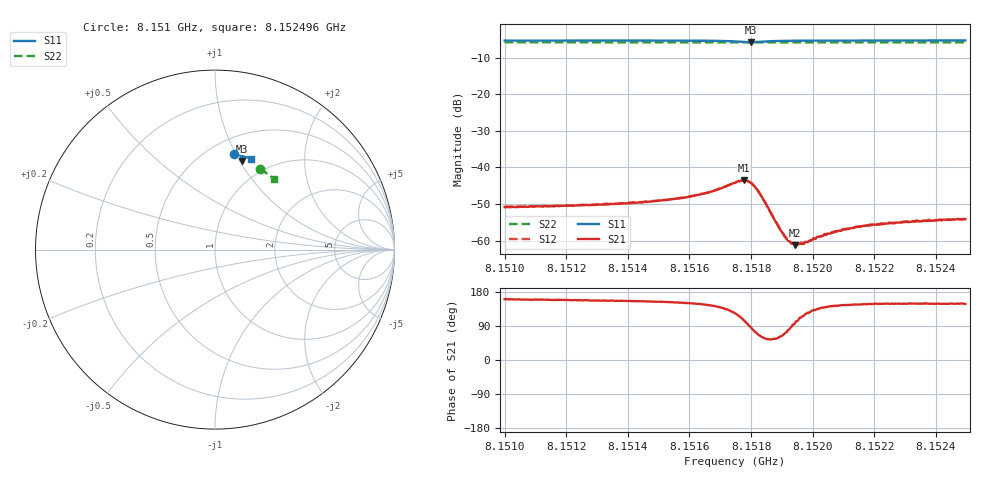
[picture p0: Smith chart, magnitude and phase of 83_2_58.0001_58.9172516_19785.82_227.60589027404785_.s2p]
#  HZ  S  RI  R  50.00
! Rohde & Schwarz Vector Network Analyzer
! Rohde-Schwarz,ZNB20-2Port,1311601062101988,3.16
! Created: UTC 3/21/2024, 12:53:59 AM
! freq[Hz]  re:S11  im:S11  re:S21  im:S21  re:S12  im:S12  re:S22  im:S22
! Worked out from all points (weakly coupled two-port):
!   401 points, 8.151 GHz to 8.152496 GHz, reference 50 ohm
!   highest |S21| = -43.55 dB at 8.151778 GHz (marker M1); lowest = -61.3 dB at 8.151942 GHz (marker M2)
!   lowest |S11| = -5.7 dB at 8.1518 GHz (marker M3), VSWR 3.13, Z = 37.8 + j50.9 ohm
!   |S11| at or under -10 dB: nowhere
!   |S22| runs from -5.8 to -5.8 dB; largest |S21 - S12| = 0.00013
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8.1509998e9  0.1038 0.5329  -0.0027 0.00095  -0.00268 0.00102  0.2515 0.4485
8.1512504e9  0.122 0.5293  -0.00284 0.00117  -0.00282 0.00121  0.2654 0.4401
8.1515009e9  0.141 0.5245  -0.00317 0.00156  -0.00315 0.0016  0.2791 0.4312
8.1515944e9  0.1492 0.5213  -0.00341 0.00196  -0.00342 0.00203  0.284 0.4277
8.1516505e9  0.1546 0.5183  -0.00369 0.00247  -0.00365 0.00256  0.287 0.4256
8.1516953e9  0.1594 0.514  -0.00388 0.00326  -0.00389 0.00334  0.2896 0.4237
8.1517477e9  0.1627 0.5035  -0.0034 0.00517  -0.00336 0.00529  0.292 0.4216
8.1517776e9  0.1572 0.4951  -0.0016 0.00645  -0.00149 0.00651  0.2932 0.4202
8.1518e9  0.148 0.4943  0.000549 0.00607  0.000651 0.00612  0.294 0.4194
8.1518113e9  0.1442 0.4969  0.00138 0.00531  0.00145 0.00535  0.2943 0.4192
8.1518262e9  0.1415 0.5019  0.00189 0.00411  0.00194 0.00409  0.2951 0.4188
8.151886e9  0.1478 0.515  0.000857 0.00137  0.000885 0.00139  0.2985 0.4171
8.1519122e9  0.1517 0.5166  0.000333 0.00105  0.000339 0.00106  0.3 0.4161
8.1519234e9  0.1533 0.5171  0.000161 0.000971  0.000154 0.000949  0.3006 0.4157
8.1519421e9  0.1556 0.5173  -9.79e-05 0.000856  -8.59e-05 0.000888  0.3016 0.4151
8.1519646e9  0.1582 0.5175  -0.00037 0.000831  -0.000369 0.000874  0.3028 0.4142
8.1519982e9  0.162 0.5173  -0.000665 0.000782  -0.000634 0.000794  0.3047 0.4128
8.1520431e9  0.1661 0.5167  -0.000912 0.000763  -0.00091 0.000788  0.307 0.4112
8.1520954e9  0.1707 0.5159  -0.00114 0.000802  -0.00112 0.000861  0.3096 0.409
8.1521702e9  0.1766 0.5144  -0.00135 0.000862  -0.00133 0.000857  0.3133 0.4059
8.1522488e9  0.1825 0.5126  -0.00146 0.00091  -0.0015 0.000935  0.3174 0.4027
8.1524955e9  0.1999 0.5069  -0.00167 0.00104  -0.00167 0.00107  0.3293 0.3926
